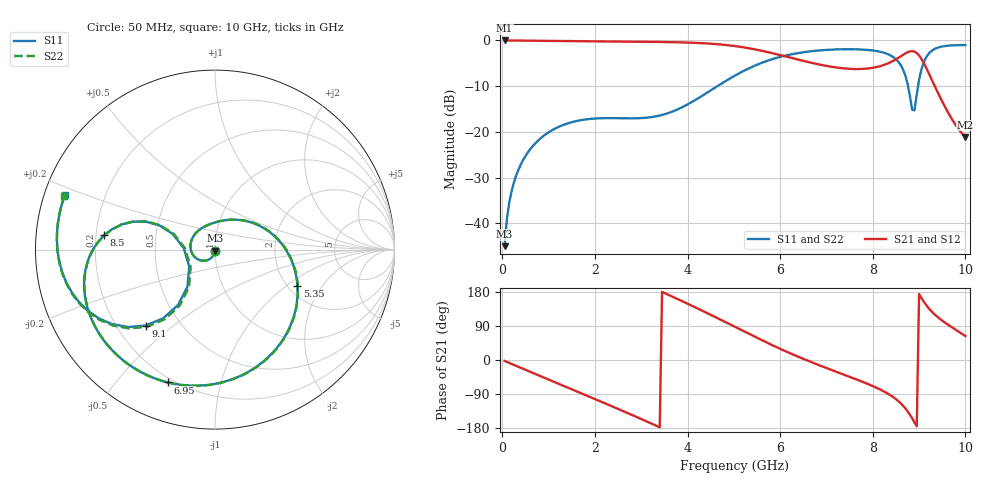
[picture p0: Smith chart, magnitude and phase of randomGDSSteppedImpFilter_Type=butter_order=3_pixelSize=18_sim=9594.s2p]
! freq	dB(S11)	phase(S11)	dB(S12)	phase(S12)
!  dB(S21)	phase(S21)	dB(S22)	phase(S22)
!S-par simulation data
#  GHz  S  DB  R 50
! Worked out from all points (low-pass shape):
!   200 points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, 50 MHz to 10 GHz, reference 50 ohm
!   highest |S21| = 0.00 dB at 50 MHz (marker M1); lowest = -21.1 dB at 10 GHz (marker M2)
!   |S21| within 3 dB of the highest: start of sweep to 5.92 GHz; 8.679 GHz to 8.973 GHz (294.5 MHz wide, 3.34 % of centre)
!   lowest |S11| = -45.0 dB at 50 MHz (marker M3), VSWR 1.01, Z = 50 - j0.56 ohm
!   |S11| at or under -10 dB: start of sweep to 4.646 GHz; 8.761 GHz to 8.978 GHz (217.1 MHz wide, 2.45 % of centre)
!   |S22| runs from -45.0 to -1.0 dB; largest |S21 - S12| = 0
!   S11 on the Smith chart (normalised r, x): 50 MHz: 1.00, -0.01; 5.35 GHz: 2.24, -1.21; 6.95 GHz: 0.18, -0.69; 8.5 GHz: 0.23, +0.06; 9.1 GHz: 0.32, -0.40; 10 GHz: 0.06, +0.17
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0.05  -45.03 -91.9  -0.00 -2.6  -0.00 -2.6  -45.03 -91.9
0.1  -39.01 -94.9  -0.00 -5.2  -0.00 -5.2  -39.01 -94.9
0.2  -33.03 -100.3  -0.01 -10.4  -0.01 -10.4  -33.03 -100.3
0.5  -25.30 -116.1  -0.04 -25.9  -0.04 -25.9  -25.30 -116.2
1.15  -19.23 -150.0  -0.12 -59.2  -0.12 -59.2  -19.23 -150.1
1.75  -17.36 179.0  -0.19 -90.0  -0.19 -90.0  -17.36 178.8
2.5  -17.02 139.7  -0.24 -129.0  -0.24 -129.0  -17.02 139.5
3.4  -16.43 90.7  -0.33 -177.5  -0.33 -177.5  -16.43 90.8
4.35  -11.90 36.3  -0.61 128.2  -0.61 128.2  -11.90 36.7
5.05  -7.54 -5.7  -1.27 85.8  -1.27 85.8  -7.54 -5.2
5.35  -5.99 -23.8  -1.75 67.5  -1.75 67.5  -5.98 -23.3
5.95  -3.74 -58.7  -3.08 32.3  -3.08 32.3  -3.74 -58.2
6.7  -2.33 -97.6  -4.95 -6.9  -4.95 -6.9  -2.33 -97.2
6.95  -2.10 -109.4  -5.48 -18.9  -5.48 -18.9  -2.10 -109.0
7.75  -1.99 -145.8  -6.24 -56.1  -6.24 -56.1  -1.99 -145.4
8.35  -3.11 -177.1  -4.92 -90.6  -4.92 -90.6  -3.12 -176.9
8.5  -4.11 172.7  -4.13 -103.3  -4.13 -103.3  -4.12 172.8
8.75  -9.42 156.4  -2.60 -135.2  -2.60 -135.2  -9.50 156.0
8.9  -15.30 -146.6  -2.44 -164.3  -2.44 -164.3  -15.61 -145.0
9.1  -4.83 -132.4  -4.91 154.2  -4.91 154.2  -4.84 -131.4
9.45  -1.44 -167.3  -12.35 108.5  -12.35 108.5  -1.43 -166.7
10  -1.01 160.1  -21.14 63.1  -21.14 63.1  -1.01 160.6
